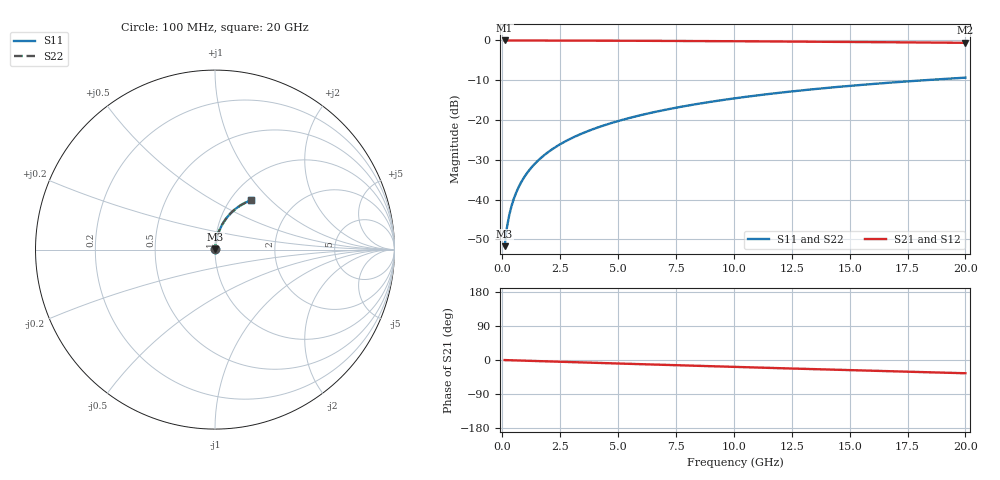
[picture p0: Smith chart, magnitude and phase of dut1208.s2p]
! Touchstone file exported from HFSS 2026.1.0
!  File:  C:/ffzhzh/LocalFiles/Ansys_Project_Files/temp_train_TMRDL_1208_1783163098_18472.aedt
!  Generated:  07:06:19 PM Jul  4, 2026
!  Design:  TMRDL
!  Project:  temp_train_TMRDL_1208_1783163098_18472
! Variables:
!  h_bsmrdl = 2um
!  h_ox = 20um
!  h_rdl = 5um
!  h_sub = 80um
!  h_tmrdl = 5.61um
!  h_tsv = 80um
!  h_via = 3um
!  l_bsmrdl = 300um
!  l_sub = 885.03um
!  l_tmrdl = 485.03um
!  m_sub = 200um
!  pitch = 56.53um
!  r_tsv = 6um
!  s_tmrdl = 10um
!  w_bsmrdl = 18um
!  w_sub = 500um
!  w_tmrdl = 23.04um
!  x_tsv_center1 = 496.55um
!  x_tsv_center2 = 814.55um
!  x_tsv_center3 = 1322.62um
!  x_tsv_center4 = 1640.62um
!  x_tsv_center5 = 2148.69um
!  x_tsv_center6 = 2466.69um
# GHz S MA R 50.000000
! Terminal data exported
! Port[1] = TM_RDL1_1_T1
! Port[2] = TM_RDL1_1_T2
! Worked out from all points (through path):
!   200 points, 100 MHz to 20 GHz, reference 50 ohm
!   highest |S21| = -0.01 dB at 100 MHz (marker M1); lowest = -0.6 dB at 20 GHz (marker M2)
!   group delay of S21, straight-line fit = 4.85 ps
!   lowest |S11| = -51.7 dB at 100 MHz (marker M3), VSWR 1.01, Z = 50.1 + j0.213 ohm
!   |S11| at or under -10 dB: start of sweep to 18.25 GHz
!   |S22| runs from -51.7 to -9.4 dB; largest |S21 - S12| = 3e-15
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0.1  0.002594 54.9  0.9985 -0.2  0.9985 -0.2  0.002594 54.9
! Gamma 0 0 0 0
! Port Impedance 50 0 50 0
0.2  0.004454 68.8  0.9984 -0.4  0.9984 -0.4  0.004454 68.8
0.3  0.006374 74.4  0.9983 -0.6  0.9983 -0.6  0.006374 74.4
0.4  0.008316 77.5  0.9983 -0.8  0.9983 -0.8  0.008316 77.5
0.5  0.01027 79.3  0.9982 -0.9  0.9982 -0.9  0.01027 79.3
0.7  0.01422 81.4  0.9981 -1.3  0.9981 -1.3  0.01422 81.4
0.8  0.01619 82.0  0.998 -1.5  0.998 -1.5  0.01619 82.0
1  0.02015 82.7  0.9979 -1.9  0.9979 -1.9  0.02015 82.7
1.2  0.02411 83.0  0.9977 -2.3  0.9977 -2.3  0.02411 83.0
1.4  0.02806 83.1  0.9975 -2.6  0.9975 -2.6  0.02806 83.1
1.7  0.03396 83.0  0.9972 -3.2  0.9972 -3.2  0.03396 83.0
2  0.03984 82.8  0.9968 -3.8  0.9968 -3.8  0.03984 82.8
2.7  0.05342 81.9  0.9957 -5.1  0.9957 -5.1  0.05342 81.9
3.5  0.06873 80.7  0.9943 -6.5  0.9943 -6.5  0.06873 80.7
4.2  0.08196 79.6  0.9929 -7.8  0.9929 -7.8  0.08196 79.6
5  0.09691 78.3  0.9911 -9.3  0.9911 -9.3  0.09691 78.3
6.8  0.1299 75.3  0.9866 -12.5  0.9866 -12.5  0.1299 75.3
8.3  0.1568 72.8  0.9822 -15.2  0.9822 -15.2  0.1568 72.8
10.1  0.1882 69.8  0.9761 -18.3  0.9761 -18.3  0.1882 69.8
13.4  0.243 64.4  0.9632 -24.0  0.9632 -24.0  0.243 64.4
16.7  0.2939 59.0  0.9485 -29.6  0.9485 -29.6  0.2939 59.0
20  0.3403 53.8  0.9325 -34.9  0.9325 -34.9  0.3403 53.8
